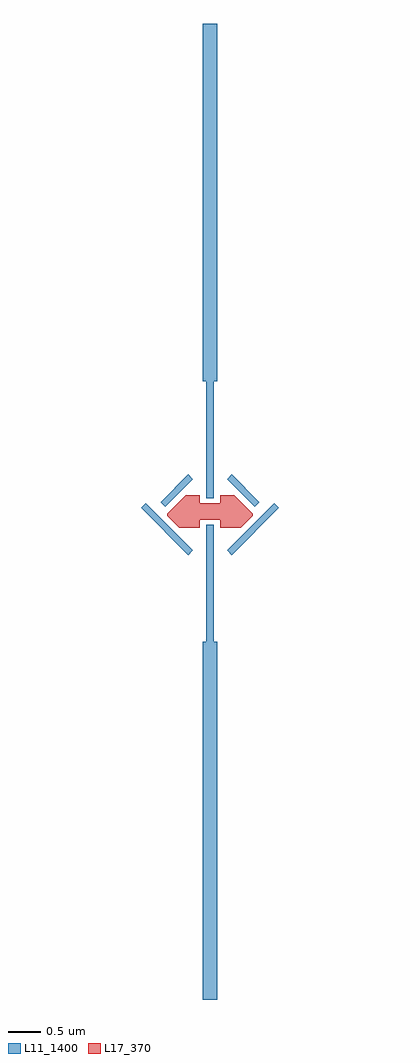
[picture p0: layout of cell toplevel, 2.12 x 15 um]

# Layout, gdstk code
from math import pi, radians
import gdstk
lib = gdstk.Library(unit=1e-6, precision=1e-09)
def R(c, l, rs):  # rectangles x0, y0, x1, y1
    for r in rs: c.add(gdstk.rectangle(r[:2], r[2:], *l))
def P(c, l, *ps):  # polygons
    for p in ps: c.add(gdstk.Polygon(p, *l))
L11_1400 = (11, 1400)
L17_370 = (17, 370)

rectangle = lib.new_cell('rectangle')
R(rectangle, L11_1400, [(0,0,0.12,1.8)])

jj_top = lib.new_cell('JJ Top')
jj_top.add(gdstk.Reference(rectangle, (-0.06,0.2)))

rectangle002 = lib.new_cell('rectangle002')
R(rectangle002, L11_1400, [(0,0,0.12,1.8)])

jj_bot = lib.new_cell('JJ Bot')
jj_bot.add(gdstk.Reference(rectangle002, (-0.06,-2)))

rectangle003 = lib.new_cell('rectangle003')
R(rectangle003, L11_1400, [(0,0,0.22,5.5)])

top_arm = lib.new_cell('Top Arm')
top_arm.add(gdstk.Reference(rectangle003, (-0.11,2)))

rectangle004 = lib.new_cell('rectangle004')
R(rectangle004, L11_1400, [(0,0,0.22,5.5)])

bot_arm = lib.new_cell('Bot Arm')
bot_arm.add(gdstk.Reference(rectangle004, (-0.11,-7.5)))

junction = lib.new_cell('Junction')
junction.add(gdstk.Reference(jj_top, (0,0)))
junction.add(gdstk.Reference(jj_bot, (0,0)))
junction.add(gdstk.Reference(top_arm, (0,0)))
junction.add(gdstk.Reference(bot_arm, (0,0)))

rectangle005 = lib.new_cell('rectangle005')
P(rectangle005, L11_1400, [(0.336,0.57),(0.76,0.146),(0.689,0.075),(0.265,0.499)])

rectangle006 = lib.new_cell('rectangle006')
P(rectangle006, L11_1400, [(0.336,0.67),(1.06,-0.054),(0.989,-0.125),(0.265,0.599)])

boolean = lib.new_cell('boolean')
P(boolean, L17_370, [(-0.16,-0.125),(0.16,-0.125),(0.16,-0.25),(0.473,-0.25),(0.66,-0.063),(0.66,-0.037),(0.373,0.25),(0.16,0.25),(0.16,0.125),(-0.16,0.125),(-0.16,0.25),(-0.373,0.25),(-0.66,-0.037),(-0.66,-0.063),(-0.473,-0.25),(-0.16,-0.25)])

h_undercut_with_asymmetr = lib.new_cell('H undercut with asymmetric s')
h_undercut_with_asymmetr.add(gdstk.Reference(rectangle005, (0,0)))
h_undercut_with_asymmetr.add(gdstk.Reference(rectangle006, (0,0), x_reflection=True))
h_undercut_with_asymmetr.add(gdstk.Reference(rectangle005, (0,0), rotation=pi, x_reflection=True))
h_undercut_with_asymmetr.add(gdstk.Reference(rectangle006, (0,0), rotation=pi))
h_undercut_with_asymmetr.add(gdstk.Reference(boolean, (0,0)))

toplevel = lib.new_cell('toplevel')
toplevel.add(gdstk.Reference(junction, (0,0)))
toplevel.add(gdstk.Reference(h_undercut_with_asymmetr, (0,0)))

lib.write_gds('toplevel.gds')
